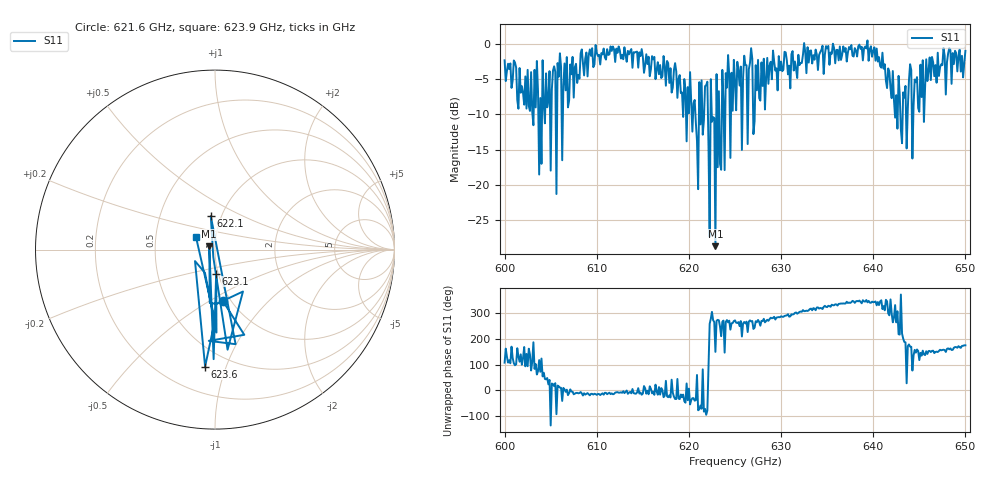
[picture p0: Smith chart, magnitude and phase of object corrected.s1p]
!Created with skrf (http://scikit-rf.org).
# GHz S MA R 50.0
!freq magS11 angS11
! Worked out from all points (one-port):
!   401 points, 600 GHz to 650 GHz, reference 50 ohm
!   lowest |S11| = -28.7 dB at 622.9 GHz (marker M1), VSWR 1.08, Z = 46.9 + j1.77 ohm
!   |S11| at or under -10 dB: 620.7053 GHz to 621.0873 GHz (381.9 MHz wide, 0.0615 % of centre); 621.4535 GHz to 621.6468 GHz (193.4 MHz wide, 0.0311 % of centre); 622.4785 GHz to 622.9707 GHz (492.2 MHz wide, 0.079 % of centre) (the widest 3 of 28)
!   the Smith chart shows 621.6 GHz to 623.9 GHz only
!   S11 on the Smith chart (normalised r, x): 621.6 GHz: 0.92, -0.57; 622.1 GHz: 0.89, +0.35; 623.1 GHz: 0.98, -0.27; 623.6 GHz: 0.37, -0.85; 623.9 GHz: 0.80, +0.12
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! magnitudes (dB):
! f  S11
! 600 GHz  -2.3
! 602.9 GHz  -4.0
! 603.4 GHz  -9.0
! 604 GHz  -17.0
! 604.4 GHz  -11.3
! 606.2 GHz  -16.5
! 612.5 GHz  -0.9
! 618.8 GHz  -7.6
! 620.4 GHz  -12.4
! 620.8 GHz  -11.1
! 621.6 GHz  -10.9
! 622.1 GHz  -14.5
! 622.9 GHz  -28.7
! 623.1 GHz  -17.5
! 623.5 GHz  -17.8
! 623.6 GHz  -3.7
! 623.9 GHz  -17.9
! 625 GHz  -5.3
! 626.8 GHz  -0.6
! 627.2 GHz  -3.0
! 629 GHz  -5.0
! 631.2 GHz  -1.0
! 637.5 GHz  -0.8
! 640.4 GHz  -0.7
! 642.9 GHz  -7.2
! 643.8 GHz  -9.2
! 646.2 GHz  -5.1
! 650 GHz  -1.0
